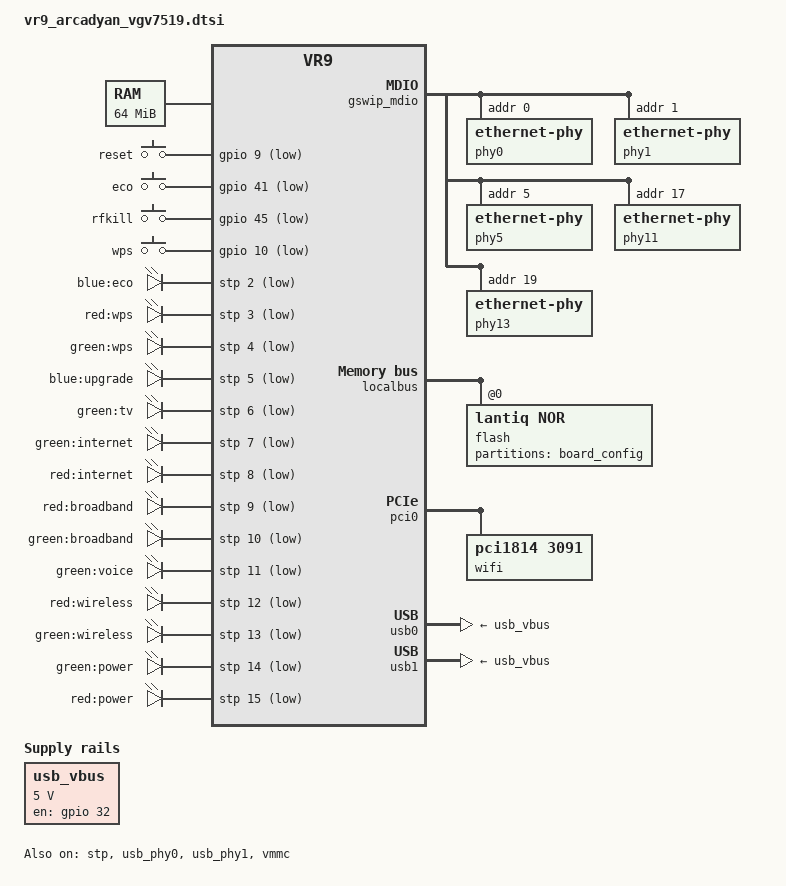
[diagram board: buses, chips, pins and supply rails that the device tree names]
#include "vr9.dtsi"

#include <dt-bindings/input/input.h>
#include <dt-bindings/mips/lantiq_rcu_gphy.h>

/ {
	compatible = "arcadyan,vgv7519", "lantiq,xway", "lantiq,vr9";

	chosen {
		bootargs = "console=ttyLTQ0,115200 mem=62M vpe1_load_addr=0x83e00000 vpe1_mem=2M maxvpes=1 maxtcs=1 nosmp";
	};

	aliases {
		led-boot = &power_green;
		led-failsafe = &power_red;
		led-running = &power_green;
		led-upgrade = &power_green;

		led-dsl = &broadband_green;
		led-internet = &internet_green;
		led-wifi = &wireless_green;
	};

	memory@0 {
		device_type = "memory";
		reg = <0x0 0x4000000>;
	};

	keys {
		compatible = "gpio-keys-polled";
		poll-interval = <100>;
		reset {
			label = "reset";
			gpios = <&gpio 9 GPIO_ACTIVE_LOW>;
			linux,code = <KEY_RESTART>;
		};
		eco {
			label = "eco";
			gpios = <&gpio 41 GPIO_ACTIVE_LOW>;
			linux,code = <BTN_0>;
		};
		rfkill {
			label = "rfkill";
			gpios = <&gpio 45 GPIO_ACTIVE_LOW>;
			linux,code = <KEY_RFKILL>;
		};
		wps {
			label = "wps";
			gpios = <&gpio 10 GPIO_ACTIVE_LOW>;
			linux,code = <KEY_WPS_BUTTON>;
		};
	};

	leds {
		compatible = "gpio-leds";

		eco {
			label = "blue:eco";
			gpios = <&stp 2 GPIO_ACTIVE_LOW>;
		};
		wps_red {
			label = "red:wps";
			gpios = <&stp 3 GPIO_ACTIVE_LOW>;
		};
		wps_green {
			label = "green:wps";
			gpios = <&stp 4 GPIO_ACTIVE_LOW>;
		};
		upgrade {
			label = "blue:upgrade";
			gpios = <&stp 5 GPIO_ACTIVE_LOW>;
		};
		tv {
			label = "green:tv";
			gpios = <&stp 6 GPIO_ACTIVE_LOW>;
		};
		internet_green: internet_green {
			label = "green:internet";
			gpios = <&stp 7 GPIO_ACTIVE_LOW>;
		};
		internet_red {
			label = "red:internet";
			gpios = <&stp 8 GPIO_ACTIVE_LOW>;
		};
		broadband_red {
			label = "red:broadband";
			gpios = <&stp 9 GPIO_ACTIVE_LOW>;
		};
		broadband_green: broadband_green {
			label = "green:broadband";
			gpios = <&stp 10 GPIO_ACTIVE_LOW>;
		};
		voice {
			label = "green:voice";
			gpios = <&stp 11 GPIO_ACTIVE_LOW>;
		};
		wireless_red {
			label = "red:wireless";
			gpios = <&stp 12 GPIO_ACTIVE_LOW>;
		};
		wireless_green: wireless_green {
			label = "green:wireless";
			gpios = <&stp 13 GPIO_ACTIVE_LOW>;
		};
		power_green: power2 {
			label = "green:power";
			gpios = <&stp 14 GPIO_ACTIVE_LOW>;
			default-state = "keep";
		};
		power_red: power {
			label = "red:power";
			gpios = <&stp 15 GPIO_ACTIVE_LOW>;
		};
	};

	usb_vbus: regulator-usb-vbus {
		compatible = "regulator-fixed";

		regulator-name = "USB_VBUS";

		regulator-min-microvolt = <5000000>;
		regulator-max-microvolt = <5000000>;

		gpio = <&gpio 32 GPIO_ACTIVE_HIGH>;
		enable-active-high;
	};
};

&eth0 {
	nvmem-cells = <&macaddr_boardconfig_16>;
	nvmem-cell-names = "mac-address";
	mac-address-increment = <1>;
};

&gphy0 {
	lantiq,gphy-mode = <GPHY_MODE_GE>;
};

&gphy1 {
	lantiq,gphy-mode = <GPHY_MODE_GE>;
};

&gpio {
	pinctrl-names = "default";
	pinctrl-0 = <&state_default>;

	state_default: pinmux {
		pci-rst {
			lantiq,pins = "io21";
			lantiq,open-drain = <0>;
			lantiq,pull = <0>;
			lantiq,output = <1>;
		};
	};
};

&gswip {
	pinctrl-0 = <&mdio_pins>, <&gphy0_led1_pins>, <&gphy1_led0_pins>;
	pinctrl-names = "default";
};

&gswip_mdio {
	phy0: ethernet-phy@0 {
		reg = <0x0>;
	};
	phy1: ethernet-phy@1 {
		reg = <0x1>;
	};
	phy5: ethernet-phy@5 {
		reg = <0x5>;
	};
	phy11: ethernet-phy@11 {
		reg = <0x11>;
	};
	phy13: ethernet-phy@13 {
		reg = <0x13>;
	};
};

&gswip_ports {
	port@0 {
		reg = <0>;
		label = "lan4";
		phy-mode = "rgmii";
		phy-handle = <&phy0>;
	};
	port@1 {
		reg = <1>;
		label = "lan3";
		phy-mode = "rgmii";
		phy-handle = <&phy1>;
	};
	port@2 {
		reg = <2>;
		label = "lan2";
		phy-mode = "internal";
		phy-handle = <&phy11>;
	};
	port@4 {
		reg = <4>;
		label = "lan1";
		phy-mode = "internal";
		phy-handle = <&phy13>;
	};
	port@5 {
		reg = <5>;
		label = "wan";
		phy-mode = "rgmii";
		phy-handle = <&phy5>;
	};
};

&localbus {
	flash@0 {
		compatible = "lantiq,nor";
		bank-width = <2>;
		reg = <0 0x0 0x800000>, <1 0x800000 0x800000>;

		partitions {
			compatible = "fixed-partitions";
			#address-cells = <1>;
			#size-cells = <1>;

			boardconfig: partition@40000 {
				label = "board_config";
				reg = <0x40000 0x10000>;
				read-only;
			};
		};
	};
};

&pci0 {
	status = "okay";
	gpio-reset = <&gpio 21 GPIO_ACTIVE_HIGH>;

	wifi@1814,3091 {
		compatible = "pci1814,3091";
		reg = <0x7000 0 0 0 0>;
		ralink,mtd-eeprom = <&boardconfig 0x410>;
		ralink,mtd-eeprom-swap;
		nvmem-cells = <&macaddr_boardconfig_16>;
		nvmem-cell-names = "mac-address";
		mac-address-increment = <1>;
	};
};

&pcie0 {
	status = "disabled";
};

&stp {
	status = "okay";
	lantiq,shadow = <0xffff>;
	lantiq,groups = <0x3>;
	/* lantiq,rising; */
};

&usb_phy0 {
	status = "okay";
};

&usb_phy1 {
	status = "okay";
};

&usb0 {
	status = "okay";
	vbus-supply = <&usb_vbus>;
};

&usb1 {
	status = "okay";
	vbus-supply = <&usb_vbus>;
};

&vmmc {
	status = "okay";
	gpios = <&gpio 30 GPIO_ACTIVE_HIGH  //fxs relay
		 &gpio 31 GPIO_ACTIVE_HIGH  //still unknown
		 &gpio 3  GPIO_ACTIVE_HIGH>; //reset_slic?
};

&boardconfig {
	compatible = "nvmem-cells";
	#address-cells = <1>;
	#size-cells = <1>;

	macaddr_boardconfig_16: macaddr@16 {
		reg = <0x16 0x6>;
	};
};
